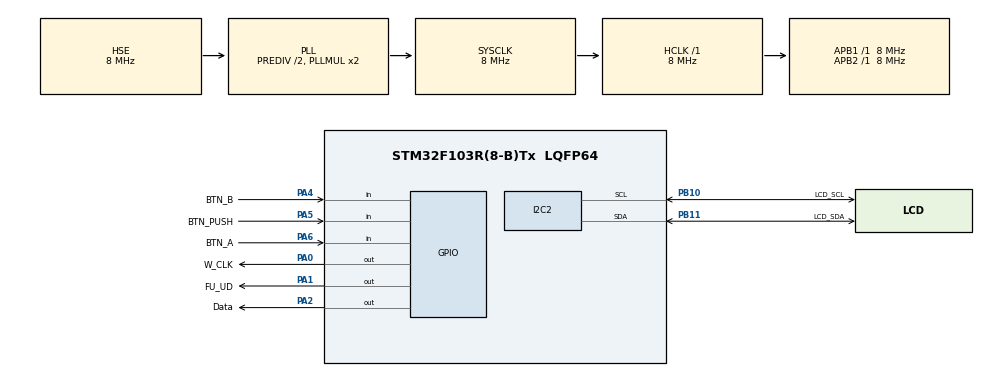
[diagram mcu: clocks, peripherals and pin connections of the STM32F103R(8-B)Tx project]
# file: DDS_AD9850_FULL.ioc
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Mcu.Family=STM32F1
Mcu.Name=STM32F103R(8-B)Tx
Mcu.Package=LQFP64
NVIC.PriorityGroup=NVIC_PRIORITYGROUP_4
PA0-WKUP.GPIO_Label=W_CLK
PA0-WKUP.Signal=GPIO_Output
PA1.GPIO_Label=FU_UD
PA1.Signal=GPIO_Output
PA13.Mode=Serial_Wire
PA13.Signal=SYS_JTMS-SWDIO
PA14.Mode=Serial_Wire
PA14.Signal=SYS_JTCK-SWCLK
PA2.GPIO_Label=Data
PA2.Signal=GPIO_Output
PA4.GPIO_Label=BTN_B
PA4.GPIO_PuPd=GPIO_PULLDOWN
PA4.Signal=GPIO_Input
PA5.GPIO_Label=BTN_PUSH
PA5.GPIO_PuPd=GPIO_PULLDOWN
PA5.Signal=GPIO_Input
PA6.GPIO_Label=BTN_A
PA6.Signal=GPIO_Input
PB10.GPIO_Label=LCD_SCL
PB10.Mode=I2C
PB10.Signal=I2C2_SCL
PB11.GPIO_Label=LCD_SDA
PB11.Mode=I2C
PB11.Signal=I2C2_SDA
PC14-OSC32_IN.Mode=LSE-External-Oscillator
PC14-OSC32_IN.Signal=RCC_OSC32_IN
PC15-OSC32_OUT.Mode=LSE-External-Oscillator
PC15-OSC32_OUT.Signal=RCC_OSC32_OUT
PD0-OSC_IN.Mode=HSE-External-Oscillator
PD0-OSC_IN.Signal=RCC_OSC_IN
PD1-OSC_OUT.Mode=HSE-External-Oscillator
PD1-OSC_OUT.Signal=RCC_OSC_OUT
ProjectManager.HeapSize=0x200
ProjectManager.StackSize=0x400
ProjectManager.TargetToolchain=MDK-ARM V5
RCC.AHBFreq_Value=8000000
RCC.APB1Freq_Value=8000000
RCC.APB1TimFreq_Value=8000000
RCC.APB2Freq_Value=8000000
RCC.APB2TimFreq_Value=8000000
RCC.EnbaleCSS=true
RCC.HCLKFreq_Value=8000000
RCC.HSEDivPLL=RCC_HSE_PREDIV_DIV2
RCC.PLLSourceVirtual=RCC_PLLSOURCE_HSE
RCC.SYSCLKFreq_VALUE=8000000
RCC.SYSCLKSource=RCC_SYSCLKSOURCE_PLLCLK
RCC.USBFreq_Value=8000000
board=custom

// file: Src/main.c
/* USER CODE BEGIN Header */
/**
  ******************************************************************************
  * @file           : main.c
  * @brief          : Main program body
  ******************************************************************************
  * @attention
  *
  * <h2><center>&copy; Copyright (c) 2020 STMicroelectronics.
  * All rights reserved.</center></h2>
  *
  * This software component is licensed by ST under BSD 3-Clause license,
  * the "License"; You may not use this file except in compliance with the
  * License. You may obtain a copy of the License at:
  *                        opensource.org/licenses/BSD-3-Clause
  *
  ******************************************************************************
  */
/* USER CODE END Header */

#include "main.h"

/* USER CODE BEGIN Includes */
#include <string.h>
#include <stdio.h>
#include "AD9850.h"
#include "I2C_LCD.h"
#include "Rotary_Sw.h"
#define SLAVE_ADDRESS_LCD 0x4E // change this according to ur setup

/* USER CODE END Includes */

I2C_HandleTypeDef hi2c2;

void SystemClock_Config(void);
static void MX_GPIO_Init(void);
static void MX_I2C2_Init(void);
/* USER CODE BEGIN PFP */
void lcd_send_cmd (char cmd)
{
  char data_u, data_l;
	uint8_t data_t[4];
	data_u = (cmd&0xf0);
	data_l = ((cmd<<4)&0xf0);
	data_t[0] = data_u|0x0C;  //en=1, rs=0
	data_t[1] = data_u|0x08;  //en=0, rs=0
	data_t[2] = data_l|0x0C;  //en=1, rs=0
	data_t[3] = data_l|0x08;  //en=0, rs=0
	HAL_I2C_Master_Transmit(&hi2c2, SLAVE_ADDRESS_LCD,(uint8_t *) data_t, 4, 100);
}
void lcd_send_data (char data)
{
	char data_u, data_l;
	uint8_t data_t[4];
	data_u = (data&0xf0);
	data_l = ((data<<4)&0xf0);
	data_t[0] = data_u|0x0D;  //en=1, rs=1
	data_t[1] = data_u|0x09;  //en=0, rs=1
	data_t[2] = data_l|0x0D;  //en=1, rs=1
	data_t[3] = data_l|0x09;  //en=0, rs=1
	HAL_I2C_Master_Transmit (&hi2c2, SLAVE_ADDRESS_LCD,(uint8_t *) data_t, 4, 100);
}
void lcd_init (void)
{
	// 4 bit initialisation
	HAL_Delay(50);  // wait for >40ms
	lcd_send_cmd (0x30);
	HAL_Delay(5);  // wait for >4.1ms
	lcd_send_cmd (0x30);
	HAL_Delay(1);  // wait for >100us
	lcd_send_cmd (0x30);
	HAL_Delay(10);
	lcd_send_cmd (0x20);  // 4bit mode
	HAL_Delay(10);

  // dislay initialisation
	lcd_send_cmd (0x28); // Function set --> DL=0 (4 bit mode), N = 1 (2 line display) F = 0 (5x8 characters)
	HAL_Delay(1);
	lcd_send_cmd (0x08); //Display on/off control --> D=0,C=0, B=0  ---> display off
	HAL_Delay(1);
	lcd_send_cmd (0x01);  // clear display
	HAL_Delay(1);
	HAL_Delay(1);
	lcd_send_cmd (0x06); //Entry mode set --> I/D = 1 (increment cursor) & S = 0 (no shift)
	HAL_Delay(1);
	lcd_send_cmd (0x0C); //Display on/off control --> D = 1, C and B = 0. (Cursor and blink, last two bits)
}
void lcd_send_string (char *str)
{
	while (*str) lcd_send_data (*str++);
}
void lcd_clear (void)
{
	lcd_send_cmd(0x01);
	HAL_Delay(1);
	HAL_Delay(1);
	lcd_send_cmd(0x80);
	HAL_Delay(1);
	HAL_Delay(1);
}
void lcd_put_cur(int row, int col)
{
    switch (row)
    {
        case 0:
            col |= 0x80;
            break;
        case 1:
            col |= 0xC0;
            break;
    }

    lcd_send_cmd (col);
}
/* USER CODE END PFP */

int main(void)
{
  /* USER CODE BEGIN 1 */
	char strDat[32] = {0};
	uint32_t iFreq = 5000;
	uint8_t iBtnPush = 0;
	GPIO_PinState aLastState, aLast;
	LCD_I2C_PORT  lcd_i2c_port = hi2c2;
	AD_CFG ad_cfg;
	ad_cfg.W_CLK_PORT = W_CLK_GPIO_Port;
	ad_cfg.W_CLK_PIN  = W_CLK_Pin;
	ad_cfg.FU_FD_PORT = FU_UD_GPIO_Port;
	ad_cfg.FU_FD_PIN  = FU_UD_Pin;
	ad_cfg.DATA_PORT  = Data_GPIO_Port;
	ad_cfg.DATA_PIN   = Data_Pin;
  /* USER CODE END 1 */

  /* MCU Configuration--------------------------------------------------------*/

  /* Reset of all peripherals, Initializes the Flash interface and the Systick. */
  HAL_Init();

  /* Configure the system clock */
  SystemClock_Config();

  /* Initialize all configured peripherals */
  MX_GPIO_Init();
  MX_I2C2_Init();
  /* USER CODE BEGIN 2 */
	lcd_init();
	HAL_Delay(1000);
	lcd_clear();
	AD_Init(&ad_cfg);
	AD_Set_Freq(iFreq, 0);
	lcd_send_string("Freq: 100 Hz");
	lcd_put_cur(1,0);
	lcd_send_string("Phase:0 Deg");
	HAL_Delay(2000);

  /* USER CODE END 2 */

  /* Infinite loop */
  /* USER CODE BEGIN WHILE */
	aLastState = RS_ReadKey(BTN_A_GPIO_Port, BTN_A_Pin);
  while (1)
  {

		aLast = RS_ReadKey(BTN_A_GPIO_Port, BTN_A_Pin);
		if(aLastState != aLast)
		{
			if(RS_ReadKey(BTN_B_GPIO_Port, BTN_B_Pin)!= aLast)
			{
			iFreq = iFreq + 1;
			AD_Set_Freq(iFreq, 0);
			memset(strDat,0,32);
			lcd_put_cur(0,0);
			sprintf(strDat,"Freq:%dHz",iFreq);
			lcd_clear();
			lcd_send_string(strDat);
			lcd_put_cur(1,0);
			lcd_send_string("Phase:0 Deg");

			}
			else{
			iFreq = iFreq -1;
			AD_Set_Freq(iFreq, 0);
			memset(strDat,0,32);
			lcd_put_cur(0,0);
			sprintf(strDat,"Freq:%dHz",iFreq);
			lcd_clear();
			lcd_send_string(strDat);
			lcd_put_cur(1,0);
			lcd_send_string("Phase:0 Deg");
			}

		}

			aLastState = aLast;

    /* USER CODE END WHILE */

  }
}

void SystemClock_Config(void)
{
  RCC_OscInitTypeDef RCC_OscInitStruct = {0};
  RCC_ClkInitTypeDef RCC_ClkInitStruct = {0};

  /** Initializes the CPU, AHB and APB busses clocks
  */
  RCC_OscInitStruct.OscillatorType = RCC_OSCILLATORTYPE_HSE;
  RCC_OscInitStruct.HSEState = RCC_HSE_ON;
  RCC_OscInitStruct.HSEPredivValue = RCC_HSE_PREDIV_DIV2;
  RCC_OscInitStruct.HSIState = RCC_HSI_ON;
  RCC_OscInitStruct.PLL.PLLState = RCC_PLL_ON;
  RCC_OscInitStruct.PLL.PLLSource = RCC_PLLSOURCE_HSE;
  RCC_OscInitStruct.PLL.PLLMUL = RCC_PLL_MUL2;
  if (HAL_RCC_OscConfig(&RCC_OscInitStruct) != HAL_OK)
  {
    Error_Handler();
  }
  /** Initializes the CPU, AHB and APB busses clocks
  */
  RCC_ClkInitStruct.ClockType = RCC_CLOCKTYPE_HCLK|RCC_CLOCKTYPE_SYSCLK
                              |RCC_CLOCKTYPE_PCLK1|RCC_CLOCKTYPE_PCLK2;
  RCC_ClkInitStruct.SYSCLKSource = RCC_SYSCLKSOURCE_PLLCLK;
  RCC_ClkInitStruct.AHBCLKDivider = RCC_SYSCLK_DIV1;
  RCC_ClkInitStruct.APB1CLKDivider = RCC_HCLK_DIV1;
  RCC_ClkInitStruct.APB2CLKDivider = RCC_HCLK_DIV1;

  if (HAL_RCC_ClockConfig(&RCC_ClkInitStruct, FLASH_LATENCY_0) != HAL_OK)
  {
    Error_Handler();
  }
  /** Enables the Clock Security System
  */
  HAL_RCC_EnableCSS();
}

static void MX_I2C2_Init(void)
{

  hi2c2.Instance = I2C2;
  hi2c2.Init.ClockSpeed = 100000;
  hi2c2.Init.DutyCycle = I2C_DUTYCYCLE_2;
  hi2c2.Init.OwnAddress1 = 0;
  hi2c2.Init.AddressingMode = I2C_ADDRESSINGMODE_7BIT;
  hi2c2.Init.DualAddressMode = I2C_DUALADDRESS_DISABLE;
  hi2c2.Init.OwnAddress2 = 0;
  hi2c2.Init.GeneralCallMode = I2C_GENERALCALL_DISABLE;
  hi2c2.Init.NoStretchMode = I2C_NOSTRETCH_DISABLE;
  if (HAL_I2C_Init(&hi2c2) != HAL_OK)
  {
    Error_Handler();
  }

}

static void MX_GPIO_Init(void)
{
  GPIO_InitTypeDef GPIO_InitStruct = {0};

  /* GPIO Ports Clock Enable */
  __HAL_RCC_GPIOC_CLK_ENABLE();
  __HAL_RCC_GPIOD_CLK_ENABLE();
  __HAL_RCC_GPIOA_CLK_ENABLE();
  __HAL_RCC_GPIOB_CLK_ENABLE();

  /*Configure GPIO pin Output Level */
  HAL_GPIO_WritePin(GPIOA, W_CLK_Pin|FU_UD_Pin|Data_Pin, GPIO_PIN_RESET);

  /*Configure GPIO pins : W_CLK_Pin FU_UD_Pin Data_Pin */
  GPIO_InitStruct.Pin = W_CLK_Pin|FU_UD_Pin|Data_Pin;
  GPIO_InitStruct.Mode = GPIO_MODE_OUTPUT_PP;
  GPIO_InitStruct.Pull = GPIO_NOPULL;
  GPIO_InitStruct.Speed = GPIO_SPEED_FREQ_LOW;
  HAL_GPIO_Init(GPIOA, &GPIO_InitStruct);

  /*Configure GPIO pins : BTN_B_Pin BTN_PUSH_Pin */
  GPIO_InitStruct.Pin = BTN_B_Pin|BTN_PUSH_Pin;
  GPIO_InitStruct.Mode = GPIO_MODE_INPUT;
  GPIO_InitStruct.Pull = GPIO_PULLDOWN;
  HAL_GPIO_Init(GPIOA, &GPIO_InitStruct);

  /*Configure GPIO pin : BTN_A_Pin */
  GPIO_InitStruct.Pin = BTN_A_Pin;
  GPIO_InitStruct.Mode = GPIO_MODE_INPUT;
  GPIO_InitStruct.Pull = GPIO_NOPULL;
  HAL_GPIO_Init(BTN_A_GPIO_Port, &GPIO_InitStruct);

}

void Error_Handler(void)
{
}

/************************ (C) COPYRIGHT STMicroelectronics *****END OF FILE****/
